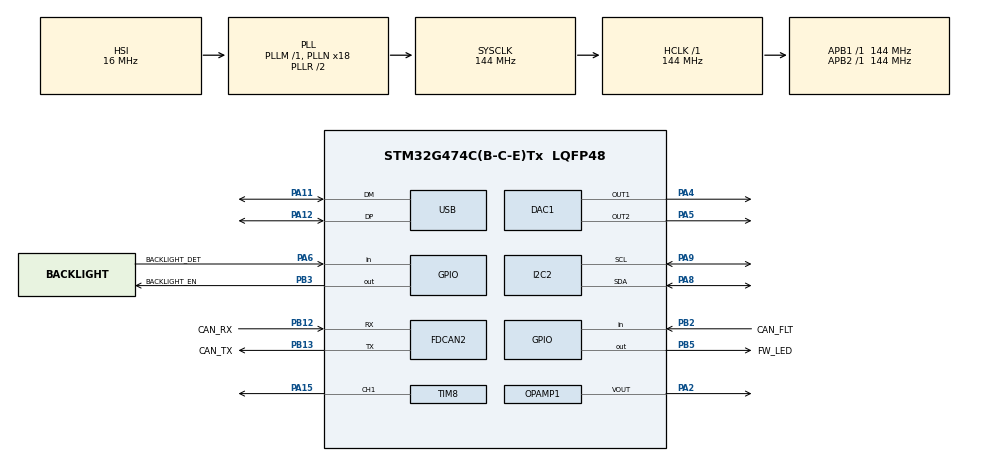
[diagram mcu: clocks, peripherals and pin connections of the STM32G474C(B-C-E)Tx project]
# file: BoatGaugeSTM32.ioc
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DAC1.DAC_Channel-DAC_OUT2=DAC_CHANNEL_2
FDCAN2.AutoRetransmission=ENABLE
FDCAN2.CalculateBaudRateNominal=2250000
FDCAN2.CalculateTimeBitNominal=444
FDCAN2.CalculateTimeQuantumNominal=27.77777777777778
FDCAN2.DataPrescaler=4
FDCAN2.DataTimeSeg1=13
FDCAN2.DataTimeSeg2=2
FDCAN2.NominalPrescaler=4
FDCAN2.NominalTimeSeg1=13
FDCAN2.NominalTimeSeg2=2
FDCAN2.StdFiltersNbr=1
I2C2.Timing=0x60715075
Mcu.Family=STM32G4
Mcu.Name=STM32G474C(B-C-E)Tx
Mcu.Package=LQFP48
NVIC.FDCAN2_IT0_IRQn=true\:4\:0\:true\:false\:true\:true\:true\:true
NVIC.PriorityGroup=NVIC_PRIORITYGROUP_4
NVIC.USB_HP_IRQn=true\:0\:0\:false\:false\:true\:true\:false\:true
NVIC.USB_LP_IRQn=true\:0\:0\:false\:false\:true\:true\:false\:true
PA11.Mode=Device
PA11.Signal=USB_DM
PA12.Mode=Device
PA12.Signal=USB_DP
PA13.Mode=Serial_Wire
PA13.Signal=SYS_JTMS-SWDIO
PA14.Mode=Serial_Wire
PA14.Signal=SYS_JTCK-SWCLK
PA15.Signal=S_TIM8_CH1
PA2.Mode=Follower-DAC_OUT2-INP
PA2.Signal=OPAMP1_VOUT
PA4.Signal=COMP_DAC11_group
PA5.Signal=COMP_DAC12_group
PA6.GPIO_Label=BACKLIGHT_DET
PA6.Signal=GPIO_Input
PA8.Mode=I2C
PA8.Signal=I2C2_SDA
PA9.Mode=I2C
PA9.Signal=I2C2_SCL
PB12.GPIO_Label=CAN_RX
PB12.GPIO_Speed=GPIO_SPEED_FREQ_VERY_HIGH
PB12.Mode=FDCAN_Activate
PB12.Signal=FDCAN2_RX
PB13.GPIO_Label=CAN_TX
PB13.GPIO_Speed=GPIO_SPEED_FREQ_VERY_HIGH
PB13.Mode=FDCAN_Activate
PB13.Signal=FDCAN2_TX
PB2.GPIO_Label=CAN_FLT
PB2.Signal=GPIO_Input
PB3.GPIO_Label=BACKLIGHT_EN
PB3.Signal=GPIO_Output
PB5.GPIO_Label=FW_LED
PB5.Signal=GPIO_Output
ProjectManager.HeapSize=0x000
ProjectManager.StackSize=0x400
ProjectManager.TargetToolchain=EWARM V8.50
RCC.ADC12Freq_Value=144000000
RCC.ADC345Freq_Value=144000000
RCC.AHBFreq_Value=144000000
RCC.APB1Freq_Value=144000000
RCC.APB1TimFreq_Value=144000000
RCC.APB2Freq_Value=144000000
RCC.APB2TimFreq_Value=144000000
RCC.CortexFreq_Value=144000000
RCC.EXTERNAL_CLOCK_VALUE=12288000
RCC.HCLKFreq_Value=144000000
RCC.HSE_VALUE=16000000
RCC.HSI48_VALUE=48000000
RCC.HSI_VALUE=16000000
RCC.LSE_VALUE=32768
RCC.PLLN=18
RCC.PLLP=RCC_PLLP_DIV5
RCC.PLLQ=RCC_PLLQ_DIV6
RCC.SYSCLKFreq_VALUE=144000000
RCC.SYSCLKSource=RCC_SYSCLKSOURCE_PLLCLK
RCC.USBFreq_Value=48000000
RCC.VCOOutputFreq_Value=288000000
SH.COMP_DAC11_group.0=DAC1_OUT1,DAC_OUT1
SH.COMP_DAC12_group.0=DAC1_OUT2,DAC_OUT2
SH.S_TIM8_CH1.0=TIM8_CH1,PWM Generation1 CH1
SYS.VoltageScaling=SYSCFG_VREFBUF_VOLTAGE_SCALE2
TIM8.Channel-PWM\ Generation1\ CH1=TIM_CHANNEL_1
VP_DAC3_VS_DACI1.Mode=DAC_OUT1_Int
VP_SYS_VS_DBSignals.Mode=DisableDeadBatterySignals
VP_TIM8_VS_ClockSourceINT.Mode=Internal
VREF+.Mode=InternalMode
VREF+.Signal=VREFBUF_OUT
board=custom

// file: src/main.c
/* USER CODE BEGIN Header */
/**
 ******************************************************************************
 * @file           : main.c
 * @brief          : Main program body
 ******************************************************************************
 * @attention
 *
 * Copyright (c) 2024 STMicroelectronics.
 * All rights reserved.
 *
 * This software is licensed under terms that can be found in the LICENSE file
 * in the root directory of this software component.
 * If no LICENSE file comes with this software, it is provided AS-IS.
 *
 ******************************************************************************
 */
/* USER CODE END Header */
#include "main.h"

/* USER CODE BEGIN Includes */

#include "blinky.h"
#include "box_to_box.h"
#include "bsp.h"
#include "config.h"
#include "log_com.h"
#include "pc_com.h"
#include "director.h"
#include "fram.h"
#include "posted_signals.h"
#include "qpc.h"
#include "reset.h"
#include "shared_i2c.h"
#include "shared_i2c_events.h"
#include "usb.h"
#include <stdbool.h>
#include <stdio.h>
#include <stdlib.h>
#include <string.h>

/* USER CODE END Includes */

/* USER CODE BEGIN PTD */

// QP Priorities for Active Objects must be unique
// Lower number is lower priority
// 0 is reserved, lowest available is 1
typedef enum
{
    AO_RESERVED = 0U,
    AO_PRIO_BLINKY,
    AO_PRIO_PC_COM,
    AO_PRIO_CONFIG,
    AO_PRIO_FRAM,
    AO_PRIO_LOG_COM,
    AO_PRIO_DIRECTOR,
    AO_PRIO_SHARED_I2C2,
    AO_PRIO_BOX_TO_BOX,
    AO_PRIO_USB,
} AO_Priority_T;

extern const QActive *AO_SharedI2C2;

typedef struct
{
    union
    {
        QEvt base_event;
        FloatEvent_T float_event;
    } small_messages;
} SmallMessageUnion_T;
typedef struct
{
    union
    {
        QEvt someMultipleQEvt[4];
        PCCOMPrintEvent_T pc_com_print_event;
        PCCOMCliDataEvent_T pc_com_cli_data_event;
        DebugForceFaultEvent_T fault_event;
        FramReadReqEvent_T fram_read_req_event;
        ConfigEntryChangedEvent_T config_entry_changed_event;
    } medium_messages;
} MediumMessageUnion_T;
typedef struct
{
    union
    {
        QEvt base_event;
        FaultGeneratedEvent_T fault_event;
        CAN_Message_Received_Event_T can_event;
        FramReadRespEvent_T fram_read_resp_event;
        FramWriteReqEvent_T fram_write_req_event;
    } large_messages;
} LongMessageUnion_T;

/* USER CODE END PTD */

DAC_HandleTypeDef hdac1;
DAC_HandleTypeDef hdac3;

FDCAN_HandleTypeDef hfdcan2;

I2C_HandleTypeDef hi2c2;

OPAMP_HandleTypeDef hopamp1;

TIM_HandleTypeDef htim8;

PCD_HandleTypeDef hpcd_USB_FS;

void SystemClock_Config(void);
static void MX_GPIO_Init(void);
static void MX_USB_PCD_Init(void);
static void MX_TIM8_Init(void);
static void MX_DAC1_Init(void);
static void MX_DAC3_Init(void);
static void MX_FDCAN2_Init(void);
static void MX_I2C2_Init(void);
static void MX_OPAMP1_Init(void);

int main(void)
{
    /* USER CODE BEGIN 1 */
    Reset_BootloaderSafeStartup();
    Reset_JumpToBootloaderIfRequested();
    Reset_Init();
    QF_init(); // initialize the framework and the underlying RT kernel
    /* USER CODE END 1 */

    /* MCU Configuration--------------------------------------------------------*/

    /* Reset of all peripherals, Initializes the Flash interface and the Systick. */
    HAL_Init();

    /* Configure the system clock */
    SystemClock_Config();

    /* USER CODE BEGIN SysInit */

    // IN CUBEMX, BE SURE TO SET INTERRUPT PRIORITY FOR ALL "QP AWARE" INTERRUPTS TO AT LEAST 4
    // SINCE QF_AWARE_ISR_CMSIS_PRI is 3

    /* USER CODE END SysInit */

    /* Initialize all configured peripherals */
    MX_GPIO_Init();
    MX_USB_PCD_Init();
    MX_TIM8_Init();
    MX_DAC1_Init();
    MX_DAC3_Init();
    MX_FDCAN2_Init();
    MX_I2C2_Init();
    MX_OPAMP1_Init();
    /* USER CODE BEGIN 2 */

    uint16_t priority = QF_AWARE_ISR_CMSIS_PRI;
    (void) priority; // be sure to set your QP aware interrupt priority in Cube MX to at least this

    BSP_Init();

    size_t smallsize  = sizeof(SmallMessageUnion_T);
    size_t mediumsize = sizeof(MediumMessageUnion_T);
    size_t largesize  = sizeof(LongMessageUnion_T);
    (void) smallsize;
    (void) mediumsize;
    (void) largesize;

    // initialize event pools
    static QF_MPOOL_EL(SmallMessageUnion_T) smlPoolSto[10];
    QF_poolInit(smlPoolSto, sizeof(smlPoolSto), sizeof(smlPoolSto[0]));

    static QF_MPOOL_EL(MediumMessageUnion_T) mediumPoolSto[20];
    QF_poolInit(mediumPoolSto, sizeof(mediumPoolSto), sizeof(mediumPoolSto[0]));

    static QF_MPOOL_EL(LongMessageUnion_T) longPoolSto[20];
    QF_poolInit(longPoolSto, sizeof(longPoolSto), sizeof(longPoolSto[0]));

    // initialize publish-subscribe
    static QSubscrList subscrSto[PUBSUB_MAX_SIG];
    QActive_psInit(subscrSto, Q_DIM(subscrSto));

    // instantiate and start AOs/threads...

    static QEvt const *blinkyQueueSto[10];
    Blinky_ctor();
    QACTIVE_START(
        AO_Blinky,
        AO_PRIO_BLINKY,        // QP prio. of the AO
        blinkyQueueSto,        // event queue storage
        Q_DIM(blinkyQueueSto), // queue length [events]
        (void *) 0,
        0U,          // no stack storage
        (void *) 0); // no initialization param

    static QEvt const *shared_i2c2_QueueSto[10];
    QACTIVE_START(
        AO_SharedI2C2,
        AO_PRIO_SHARED_I2C2,         // QP prio. of the AO
        shared_i2c2_QueueSto,        // event queue storage
        Q_DIM(shared_i2c2_QueueSto), // queue length [events]
        (void *) 0,                  // stack storage (not used in QK)
        0U,                          // stack size [bytes] (not used in QK)
        (void *) 0);                 // no initialization param

    static QEvt const *pc_com_QueueSto[10];
    PC_COM_ctor(BSP_Get_Serial_IO_Interface_USB0());
    QACTIVE_START(
        AO_PC_COM,
        AO_PRIO_PC_COM,         // QP prio. of the AO
        pc_com_QueueSto,        // event queue storage
        Q_DIM(pc_com_QueueSto), // queue length [events]
        (void *) 0,             // stack storage (not used in QK)
        0U,                     // stack size [bytes] (not used in QK)
        (void *) 0);            // no initialization param

    static QEvt const *log_com_QueueSto[20];
    LogCom_ctor(BSP_Get_Serial_IO_Interface_USB1());
    QACTIVE_START(
        AO_LogCom,
        AO_PRIO_LOG_COM,         // QP prio. of the AO
        log_com_QueueSto,        // event queue storage
        Q_DIM(log_com_QueueSto), // queue length [events]
        (void *) 0,              // stack storage (not used in QK)
        0U,                      // stack size [bytes] (not used in QK)
        (void *) 0);             // no initialization param

    static QEvt const *config_QueueSto[10];
    Config_ctor();
    QACTIVE_START(
        AO_Config,
        AO_PRIO_CONFIG,         // QP prio. of the AO
        config_QueueSto,        // event queue storage
        Q_DIM(config_QueueSto), // queue length [events]
        (void *) 0,
        0U,
        (void *) 0);

    static QEvt const *fram_QueueSto[10];
    Fram_ctor(BSP_Get_I2C_Write_FRAM(), BSP_Get_I2C_Memory_Read_FRAM());
    QACTIVE_START(
        AO_Fram,
        AO_PRIO_FRAM,         // QP prio. of the AO
        fram_QueueSto,        // event queue storage
        Q_DIM(fram_QueueSto), // queue length [events]
        (void *) 0,
        0U,
        (void *) 0);

    static QEvt const *box_to_box_QueueSto[20];
    Box_To_Box_ctor();
    QACTIVE_START(
        AO_BOX_TO_BOX,
        AO_PRIO_BOX_TO_BOX,         // QP prio. of the AO
        box_to_box_QueueSto,        // event queue storage
        Q_DIM(box_to_box_QueueSto), // queue length [events]
        (void *) 0,                 // stack storage (not used in QK)
        0U,                         // stack size [bytes] (not used in QK)
        (void *) 0);                // no initialization param

    static QEvt const *directorQueueSto[10];
    Director_ctor();
    QACTIVE_START(
        AO_DIRECTOR,
        AO_PRIO_DIRECTOR,        // QP prio. of the AO
        directorQueueSto,        // event queue storage
        Q_DIM(directorQueueSto), // queue length [events]
        (void *) 0,
        0U,          // no stack storage
        (void *) 0); // no initialization param

    static QEvt const *usb_QueueSto[10];
    USB_ctor();
    QACTIVE_START(
        AO_USB,
        AO_PRIO_USB,         // QP prio. of the AO
        usb_QueueSto,        // event queue storage
        Q_DIM(usb_QueueSto), // queue length [events]
        (void *) 0,          // stack storage (not used in QK)
        0U,                  // stack size [bytes] (not used in QK)
        (void *) 0);         // no initialization param

    return QF_run(); // run the QF application
                     /* USER CODE END 2 */

    /* Infinite loop */
    /* USER CODE BEGIN WHILE */
    // while (1)
    // {
    /* USER CODE END WHILE */

}

void SystemClock_Config(void)
{
    RCC_OscInitTypeDef RCC_OscInitStruct = {0};
    RCC_ClkInitTypeDef RCC_ClkInitStruct = {0};

    /** Configure the main internal regulator output voltage
     */
    HAL_PWREx_ControlVoltageScaling(PWR_REGULATOR_VOLTAGE_SCALE1);

    /** Initializes the RCC Oscillators according to the specified parameters
     * in the RCC_OscInitTypeDef structure.
     */
    RCC_OscInitStruct.OscillatorType      = RCC_OSCILLATORTYPE_HSI;
    RCC_OscInitStruct.HSIState            = RCC_HSI_ON;
    RCC_OscInitStruct.HSICalibrationValue = RCC_HSICALIBRATION_DEFAULT;
    RCC_OscInitStruct.PLL.PLLState        = RCC_PLL_ON;
    RCC_OscInitStruct.PLL.PLLSource       = RCC_PLLSOURCE_HSI;
    RCC_OscInitStruct.PLL.PLLM            = RCC_PLLM_DIV1;
    RCC_OscInitStruct.PLL.PLLN            = 18;
    RCC_OscInitStruct.PLL.PLLP            = RCC_PLLP_DIV5;
    RCC_OscInitStruct.PLL.PLLQ            = RCC_PLLQ_DIV6;
    RCC_OscInitStruct.PLL.PLLR            = RCC_PLLR_DIV2;
    if (HAL_RCC_OscConfig(&RCC_OscInitStruct) != HAL_OK)
    {
        Error_Handler();
    }

    /** Initializes the CPU, AHB and APB buses clocks
     */
    RCC_ClkInitStruct.ClockType = RCC_CLOCKTYPE_HCLK | RCC_CLOCKTYPE_SYSCLK | RCC_CLOCKTYPE_PCLK1 |
        RCC_CLOCKTYPE_PCLK2;
    RCC_ClkInitStruct.SYSCLKSource   = RCC_SYSCLKSOURCE_PLLCLK;
    RCC_ClkInitStruct.AHBCLKDivider  = RCC_SYSCLK_DIV1;
    RCC_ClkInitStruct.APB1CLKDivider = RCC_HCLK_DIV1;
    RCC_ClkInitStruct.APB2CLKDivider = RCC_HCLK_DIV1;

    if (HAL_RCC_ClockConfig(&RCC_ClkInitStruct, FLASH_LATENCY_4) != HAL_OK)
    {
        Error_Handler();
    }
}

static void MX_DAC1_Init(void)
{

    DAC_ChannelConfTypeDef sConfig = {0};

    /** DAC Initialization
     */
    hdac1.Instance = DAC1;
    if (HAL_DAC_Init(&hdac1) != HAL_OK)
    {
        Error_Handler();
    }

    /** DAC channel OUT1 config
     */
    sConfig.DAC_HighFrequency           = DAC_HIGH_FREQUENCY_INTERFACE_MODE_AUTOMATIC;
    sConfig.DAC_DMADoubleDataMode       = DISABLE;
    sConfig.DAC_SignedFormat            = DISABLE;
    sConfig.DAC_SampleAndHold           = DAC_SAMPLEANDHOLD_DISABLE;
    sConfig.DAC_Trigger                 = DAC_TRIGGER_NONE;
    sConfig.DAC_Trigger2                = DAC_TRIGGER_NONE;
    sConfig.DAC_OutputBuffer            = DAC_OUTPUTBUFFER_ENABLE;
    sConfig.DAC_ConnectOnChipPeripheral = DAC_CHIPCONNECT_EXTERNAL;
    sConfig.DAC_UserTrimming            = DAC_TRIMMING_FACTORY;
    if (HAL_DAC_ConfigChannel(&hdac1, &sConfig, DAC_CHANNEL_1) != HAL_OK)
    {
        Error_Handler();
    }

    /** DAC channel OUT2 config
     */
    if (HAL_DAC_ConfigChannel(&hdac1, &sConfig, DAC_CHANNEL_2) != HAL_OK)
    {
        Error_Handler();
    }
}

static void MX_DAC3_Init(void)
{

    DAC_ChannelConfTypeDef sConfig = {0};

    /** DAC Initialization
     */
    hdac3.Instance = DAC3;
    if (HAL_DAC_Init(&hdac3) != HAL_OK)
    {
        Error_Handler();
    }

    /** DAC channel OUT1 config
     */
    sConfig.DAC_HighFrequency           = DAC_HIGH_FREQUENCY_INTERFACE_MODE_AUTOMATIC;
    sConfig.DAC_DMADoubleDataMode       = DISABLE;
    sConfig.DAC_SignedFormat            = DISABLE;
    sConfig.DAC_SampleAndHold           = DAC_SAMPLEANDHOLD_DISABLE;
    sConfig.DAC_Trigger                 = DAC_TRIGGER_NONE;
    sConfig.DAC_Trigger2                = DAC_TRIGGER_NONE;
    sConfig.DAC_OutputBuffer            = DAC_OUTPUTBUFFER_DISABLE;
    sConfig.DAC_ConnectOnChipPeripheral = DAC_CHIPCONNECT_INTERNAL;
    sConfig.DAC_UserTrimming            = DAC_TRIMMING_FACTORY;
    if (HAL_DAC_ConfigChannel(&hdac3, &sConfig, DAC_CHANNEL_1) != HAL_OK)
    {
        Error_Handler();
    }
}

static void MX_FDCAN2_Init(void)
{

    hfdcan2.Instance                  = FDCAN2;
    hfdcan2.Init.ClockDivider         = FDCAN_CLOCK_DIV1;
    hfdcan2.Init.FrameFormat          = FDCAN_FRAME_FD_NO_BRS;
    hfdcan2.Init.Mode                 = FDCAN_MODE_NORMAL;
    hfdcan2.Init.AutoRetransmission   = ENABLE;
    hfdcan2.Init.TransmitPause        = DISABLE;
    hfdcan2.Init.ProtocolException    = DISABLE;
    hfdcan2.Init.NominalPrescaler     = 4;
    hfdcan2.Init.NominalSyncJumpWidth = 1;
    hfdcan2.Init.NominalTimeSeg1      = 13;
    hfdcan2.Init.NominalTimeSeg2      = 2;
    hfdcan2.Init.DataPrescaler        = 4;
    hfdcan2.Init.DataSyncJumpWidth    = 1;
    hfdcan2.Init.DataTimeSeg1         = 13;
    hfdcan2.Init.DataTimeSeg2         = 2;
    hfdcan2.Init.StdFiltersNbr        = 1;
    hfdcan2.Init.ExtFiltersNbr        = 0;
    hfdcan2.Init.TxFifoQueueMode      = FDCAN_TX_FIFO_OPERATION;
    if (HAL_FDCAN_Init(&hfdcan2) != HAL_OK)
    {
        Error_Handler();
    }
}

static void MX_I2C2_Init(void)
{

    hi2c2.Instance              = I2C2;
    hi2c2.Init.Timing           = 0x60715075;
    hi2c2.Init.OwnAddress1      = 0;
    hi2c2.Init.AddressingMode   = I2C_ADDRESSINGMODE_7BIT;
    hi2c2.Init.DualAddressMode  = I2C_DUALADDRESS_DISABLE;
    hi2c2.Init.OwnAddress2      = 0;
    hi2c2.Init.OwnAddress2Masks = I2C_OA2_NOMASK;
    hi2c2.Init.GeneralCallMode  = I2C_GENERALCALL_DISABLE;
    hi2c2.Init.NoStretchMode    = I2C_NOSTRETCH_DISABLE;
    if (HAL_I2C_Init(&hi2c2) != HAL_OK)
    {
        Error_Handler();
    }

    /** Configure Analogue filter
     */
    if (HAL_I2CEx_ConfigAnalogFilter(&hi2c2, I2C_ANALOGFILTER_ENABLE) != HAL_OK)
    {
        Error_Handler();
    }

    /** Configure Digital filter
     */
    if (HAL_I2CEx_ConfigDigitalFilter(&hi2c2, 0) != HAL_OK)
    {
        Error_Handler();
    }
}

static void MX_OPAMP1_Init(void)
{

    hopamp1.Instance                    = OPAMP1;
    hopamp1.Init.PowerMode              = OPAMP_POWERMODE_NORMALSPEED;
    hopamp1.Init.Mode                   = OPAMP_FOLLOWER_MODE;
    hopamp1.Init.NonInvertingInput      = OPAMP_NONINVERTINGINPUT_DAC;
    hopamp1.Init.InternalOutput         = DISABLE;
    hopamp1.Init.TimerControlledMuxmode = OPAMP_TIMERCONTROLLEDMUXMODE_DISABLE;
    hopamp1.Init.UserTrimming           = OPAMP_TRIMMING_FACTORY;
    if (HAL_OPAMP_Init(&hopamp1) != HAL_OK)
    {
        Error_Handler();
    }
}

static void MX_TIM8_Init(void)
{

    TIM_ClockConfigTypeDef sClockSourceConfig           = {0};
    TIM_MasterConfigTypeDef sMasterConfig               = {0};
    TIM_OC_InitTypeDef sConfigOC                        = {0};
    TIM_BreakDeadTimeConfigTypeDef sBreakDeadTimeConfig = {0};

    htim8.Instance               = TIM8;
    htim8.Init.Prescaler         = 71;
    htim8.Init.CounterMode       = TIM_COUNTERMODE_UP;
    htim8.Init.Period            = 65535;
    htim8.Init.ClockDivision     = TIM_CLOCKDIVISION_DIV1;
    htim8.Init.RepetitionCounter = 0;
    htim8.Init.AutoReloadPreload = TIM_AUTORELOAD_PRELOAD_DISABLE;
    if (HAL_TIM_Base_Init(&htim8) != HAL_OK)
    {
        Error_Handler();
    }
    sClockSourceConfig.ClockSource = TIM_CLOCKSOURCE_INTERNAL;
    if (HAL_TIM_ConfigClockSource(&htim8, &sClockSourceConfig) != HAL_OK)
    {
        Error_Handler();
    }
    if (HAL_TIM_PWM_Init(&htim8) != HAL_OK)
    {
        Error_Handler();
    }
    sMasterConfig.MasterOutputTrigger  = TIM_TRGO_RESET;
    sMasterConfig.MasterOutputTrigger2 = TIM_TRGO2_RESET;
    sMasterConfig.MasterSlaveMode      = TIM_MASTERSLAVEMODE_DISABLE;
    if (HAL_TIMEx_MasterConfigSynchronization(&htim8, &sMasterConfig) != HAL_OK)
    {
        Error_Handler();
    }
    sConfigOC.OCMode       = TIM_OCMODE_PWM1;
    sConfigOC.Pulse        = 0;
    sConfigOC.OCPolarity   = TIM_OCPOLARITY_HIGH;
    sConfigOC.OCNPolarity  = TIM_OCNPOLARITY_HIGH;
    sConfigOC.OCFastMode   = TIM_OCFAST_DISABLE;
    sConfigOC.OCIdleState  = TIM_OCIDLESTATE_RESET;
    sConfigOC.OCNIdleState = TIM_OCNIDLESTATE_RESET;
    if (HAL_TIM_PWM_ConfigChannel(&htim8, &sConfigOC, TIM_CHANNEL_1) != HAL_OK)
    {
        Error_Handler();
    }
    sBreakDeadTimeConfig.OffStateRunMode  = TIM_OSSR_DISABLE;
    sBreakDeadTimeConfig.OffStateIDLEMode = TIM_OSSI_DISABLE;
    sBreakDeadTimeConfig.LockLevel        = TIM_LOCKLEVEL_OFF;
    sBreakDeadTimeConfig.DeadTime         = 0;
    sBreakDeadTimeConfig.BreakState       = TIM_BREAK_DISABLE;
    sBreakDeadTimeConfig.BreakPolarity    = TIM_BREAKPOLARITY_HIGH;
    sBreakDeadTimeConfig.BreakFilter      = 0;
    sBreakDeadTimeConfig.BreakAFMode      = TIM_BREAK_AFMODE_INPUT;
    sBreakDeadTimeConfig.Break2State      = TIM_BREAK2_DISABLE;
    sBreakDeadTimeConfig.Break2Polarity   = TIM_BREAK2POLARITY_HIGH;
    sBreakDeadTimeConfig.Break2Filter     = 0;
    sBreakDeadTimeConfig.Break2AFMode     = TIM_BREAK_AFMODE_INPUT;
    sBreakDeadTimeConfig.AutomaticOutput  = TIM_AUTOMATICOUTPUT_DISABLE;
    if (HAL_TIMEx_ConfigBreakDeadTime(&htim8, &sBreakDeadTimeConfig) != HAL_OK)
    {
        Error_Handler();
    }
    HAL_TIM_MspPostInit(&htim8);
}

static void MX_USB_PCD_Init(void)
{

    hpcd_USB_FS.Instance                     = USB;
    hpcd_USB_FS.Init.dev_endpoints           = 8;
    hpcd_USB_FS.Init.speed                   = PCD_SPEED_FULL;
    hpcd_USB_FS.Init.phy_itface              = PCD_PHY_EMBEDDED;
    hpcd_USB_FS.Init.Sof_enable              = DISABLE;
    hpcd_USB_FS.Init.low_power_enable        = DISABLE;
    hpcd_USB_FS.Init.lpm_enable              = DISABLE;
    hpcd_USB_FS.Init.battery_charging_enable = DISABLE;
    if (HAL_PCD_Init(&hpcd_USB_FS) != HAL_OK)
    {
        Error_Handler();
    }
}

static void MX_GPIO_Init(void)
{
    GPIO_InitTypeDef GPIO_InitStruct = {0};

    /* GPIO Ports Clock Enable */
    __HAL_RCC_GPIOA_CLK_ENABLE();
    __HAL_RCC_GPIOB_CLK_ENABLE();

    /*Configure GPIO pin Output Level */
    HAL_GPIO_WritePin(GPIOB, BACKLIGHT_EN_Pin | FW_LED_Pin, GPIO_PIN_RESET);

    /*Configure GPIO pin : BACKLIGHT_DET_Pin */
    GPIO_InitStruct.Pin  = BACKLIGHT_DET_Pin;
    GPIO_InitStruct.Mode = GPIO_MODE_INPUT;
    GPIO_InitStruct.Pull = GPIO_NOPULL;
    HAL_GPIO_Init(BACKLIGHT_DET_GPIO_Port, &GPIO_InitStruct);

    /*Configure GPIO pin : CAN_FLT_Pin */
    GPIO_InitStruct.Pin  = CAN_FLT_Pin;
    GPIO_InitStruct.Mode = GPIO_MODE_INPUT;
    GPIO_InitStruct.Pull = GPIO_NOPULL;
    HAL_GPIO_Init(CAN_FLT_GPIO_Port, &GPIO_InitStruct);

    /*Configure GPIO pins : BACKLIGHT_EN_Pin FW_LED_Pin */
    GPIO_InitStruct.Pin   = BACKLIGHT_EN_Pin | FW_LED_Pin;
    GPIO_InitStruct.Mode  = GPIO_MODE_OUTPUT_PP;
    GPIO_InitStruct.Pull  = GPIO_NOPULL;
    GPIO_InitStruct.Speed = GPIO_SPEED_FREQ_LOW;
    HAL_GPIO_Init(GPIOB, &GPIO_InitStruct);

}

void Error_Handler(void)
{
    __disable_irq();
    while (1)
    {
    }
}
